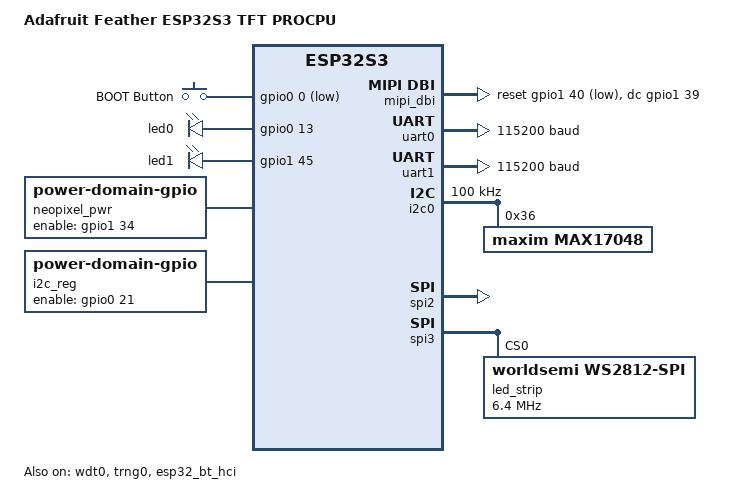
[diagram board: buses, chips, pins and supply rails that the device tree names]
/*
 * Copyright (c) 2024 Espressif Systems (Shanghai) Co., Ltd.
 * Copyright (c) 2024 Leon Rinkel <leon@rinkel.me>
 *
 * SPDX-License-Identifier: Apache-2.0
 */
/dts-v1/;

#include <espressif/esp32s3/esp32s3_wroom_n8.dtsi>
#include <espressif/partitions_0x0_amp.dtsi>
#include <zephyr/dt-bindings/input/input-event-codes.h>
#include <zephyr/dt-bindings/input/esp32-touch-sensor-input.h>
#include <zephyr/dt-bindings/led/led.h>
#include <zephyr/dt-bindings/mipi_dbi/mipi_dbi.h>
#include "feather_connector.dtsi"
#include "adafruit_feather_esp32s3_tft-pinctrl.dtsi"

/ {
	model = "Adafruit Feather ESP32S3 TFT PROCPU";
	compatible = "adafruit,feather_esp32s3_tft", "espressif,esp32s3";

	aliases {
		i2c-0 = &i2c0;
		watchdog0 = &wdt0;
	};

	chosen {
		zephyr,sram = &sram1;
		zephyr,console = &uart0;
		zephyr,shell-uart = &uart0;
		zephyr,flash = &flash0;
		zephyr,code-partition = &slot0_partition;
		zephyr,bt-hci = &esp32_bt_hci;
		zephyr,display = &st7789v_tft;
	};

	/* These aliases are provided for compatibility with samples */
	aliases {
		uart-0 = &uart0;
		sw0 = &button0;
		led0 = &led0;
		led-strip = &led_strip;
		backlight = &led1;
	};

	buttons {
		compatible = "gpio-keys";
		button0: button_0 {
			gpios = <&gpio0 0 (GPIO_PULL_UP | GPIO_ACTIVE_LOW)>;
			label = "BOOT Button";
			zephyr,code = <INPUT_KEY_0>;
		};
	};

	leds {
		compatible = "gpio-leds";
		led0: led_0 {
			gpios = <&gpio0 13 GPIO_ACTIVE_HIGH>;
		};
		led1: led_1 {
			gpios = <&gpio1 45 GPIO_ACTIVE_HIGH>;
		};
	};

	/*
	 * The neopixel on this board has its positive side hooked up to a GPIO
	 * pin rather than a positive voltage rail to save on power.
	 */
	neopixel_pwr: neopixel_pwr {
		compatible = "power-domain-gpio";
		#power-domain-cells = <0>;
		enable-gpios = <&gpio1 34 GPIO_ACTIVE_HIGH>;
	};

	/*
	 * On-board regulator powers I2C pull-ups and external devices connected
	 * via the STEMMA QT connector.
	 */
	i2c_reg: i2c_reg {
		compatible = "power-domain-gpio";
		#power-domain-cells = <0>;
		enable-gpios = <&gpio0 21 GPIO_ACTIVE_HIGH>;
	};

	mipi_dbi {
		compatible = "zephyr,mipi-dbi-spi";
		spi-dev = <&spi2>;
		dc-gpios = <&gpio1 39 GPIO_ACTIVE_HIGH>;
		reset-gpios = <&gpio1 40 GPIO_ACTIVE_LOW>;
		write-only;
		#address-cells = <1>;
		#size-cells = <0>;

		st7789v_tft: st7789v_tft@0 {
			compatible = "sitronix,st7789v";
			status = "disabled";

			/* Also powered by i2c_reg */
			power-domains = <&i2c_reg>;

			mipi-max-frequency = <DT_FREQ_M(20)>;
			reg = <0>;
			width = <135>;
			height = <240>;
			x-offset = <52>;
			y-offset = <40>;
			vcom = <0x20>;
			gctrl = <0x35>;
			vrhs = <0x0b>;
			vdvs = <0x20>;
			mdac = <0x08>;
			gamma = <0x01>;
			colmod = <0x55>;
			lcm = <0x2c>;
			porch-param = [0c 0c 00 33 33];
			cmd2en-param = [5a 69 02 01];
			pwctrl1-param = [a4 a1];
			pvgam-param = [70 2C 2E 15 10 09 48 33 53 0B 19 18 20 25];
			nvgam-param = [70 2C 2E 15 10 09 48 33 53 0B 19 18 20 25];
			ram-param = [00 F0];
			rgb-param = [40 02 14];
			mipi-mode = "MIPI_DBI_MODE_SPI_4WIRE";
		};
	};
};

&usb_serial {
	status = "disabled";
};

&uart0 {
	status = "okay";
	current-speed = <115200>;
	pinctrl-0 = <&uart0_default>;
	pinctrl-names = "default";
};

&uart1 {
	status = "okay";
	current-speed = <115200>;
	pinctrl-0 = <&uart1_default>;
	pinctrl-names = "default";
};

&gpio0 {
	status = "okay";
};

&gpio1 {
	status = "okay";
};

&touch {
	debounce-interval-ms = <30>;
	href-microvolt = <2700000>;
	lref-microvolt = <500000>;
	href-atten-microvolt = <1000000>;
	filter-mode = <ESP32_TOUCH_FILTER_MODE_IIR_16>;
	filter-debounce-cnt = <1>;
	filter-noise-thr = <ESP32_TOUCH_FILTER_NOISE_THR_4_8TH>;
	filter-jitter-step = <4>;
	filter-smooth-level = <ESP32_TOUCH_FILTER_SMOOTH_MODE_IIR_2>;
};

&i2c0 {
	status = "okay";
	clock-frequency = <I2C_BITRATE_STANDARD>;
	pinctrl-0 = <&i2c0_default>;
	pinctrl-names = "default";

	max17048: max17048@36 {
		compatible = "maxim,max17048";
		status = "okay";
		reg = <0x36>;

		/*
		 * The MAX17048 itself is directly powered by the battery, not
		 * through the on-board regulator. However using this device
		 * requires I2C pull-ups powered by the regulator.
		 */
		power-domains = <&i2c_reg>;
	};
};

&spi2 {
	#address-cells = <1>;
	#size-cells = <0>;
	status = "okay";
	pinctrl-0 = <&spim2_default>;
	pinctrl-names = "default";
};

&spi3 {
	#address-cells = <1>;
	#size-cells = <0>;
	status = "okay";
	pinctrl-0 = <&spim3_default>;
	pinctrl-names = "default";

	/* Workaround to support WS2812 driver */
	line-idle-low;

	led_strip: ws2812@0 {
		compatible = "worldsemi,ws2812-spi";
		power-domains = <&neopixel_pwr>;

		/* SPI */
		reg = <0>; /* ignored, but necessary for SPI bindings */
		spi-max-frequency = <6400000>;

		/* WS2812 */
		chain-length = <1>;
		spi-cpha;
		spi-one-frame = <0xf0>;  /* 625 ns high and 625 ns low */
		spi-zero-frame = <0xc0>; /* 312.5 ns high and 937.5 ns low */
		color-mapping = <LED_COLOR_ID_GREEN
				 LED_COLOR_ID_RED
				 LED_COLOR_ID_BLUE>;
	};
};

&twai {
	pinctrl-0 = <&twai_default>;
	pinctrl-names = "default";
};

&timer0 {
	status = "disabled";
};

&timer1 {
	status = "disabled";
};

&timer2 {
	status = "disabled";
};

&timer3 {
	status = "disabled";
};

&wdt0 {
	status = "okay";
};

&trng0 {
	status = "okay";
};

&esp32_bt_hci {
	status = "okay";
};
